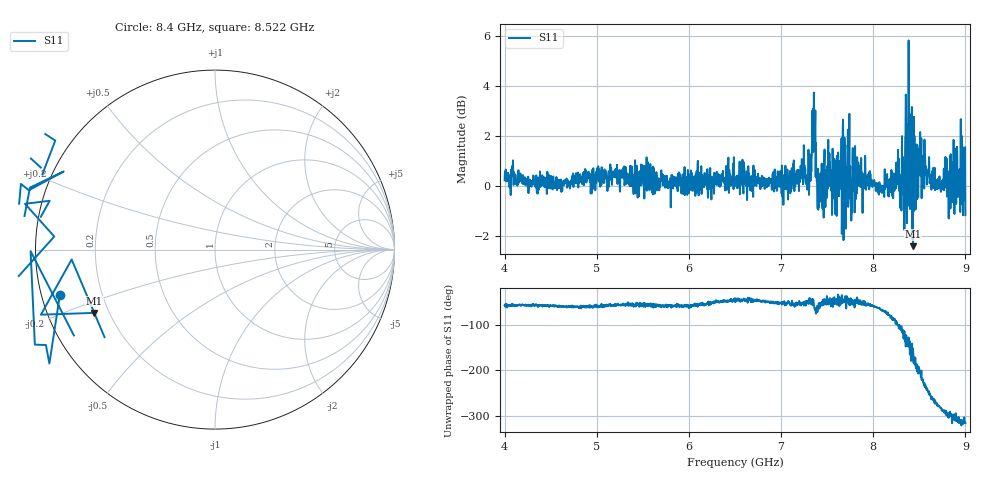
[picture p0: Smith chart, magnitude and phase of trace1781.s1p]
! Created with skrf 1.8.0 (http://scikit-rf.org).
# Hz S RI R 50.0
!freq ReS11 ImS11
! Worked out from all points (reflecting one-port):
!   1601 points, 4 GHz to 9 GHz, reference 50 ohm
!   lowest |S11| = -2.4 dB at 8.431 GHz (marker M1), VSWR 7.30, Z = 7.26 - j12.1 ohm
!   phase of S11 starts at -57 deg and turns -258 deg over the sweep
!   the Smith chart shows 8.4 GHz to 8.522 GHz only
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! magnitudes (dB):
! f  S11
! 4 GHz  0.2
! 4.625 GHz  -0.2
! 5.25 GHz  -0.2
! 5.875 GHz  0.1
! 6.5 GHz  0.2
! 7.125 GHz  0.5
! 7.297 GHz  1.5
! 7.356 GHz  3.7
! 7.409 GHz  -0.2
! 7.525 GHz  1.3
! 7.609 GHz  0.0
! 7.675 GHz  1.8
! 7.75 GHz  0.8
! 7.775 GHz  1.2
! 7.85 GHz  0.2
! 8.094 GHz  -0.3
! 8.259 GHz  0.4
! 8.316 GHz  -0.3
! 8.334 GHz  0.3
! 8.375 GHz  0.1
! 8.388 GHz  -0.8
! 8.394 GHz  -0.5
! 8.412 GHz  0.2
! 8.431 GHz  -2.4
! 8.519 GHz  1.2
! 8.812 GHz  -0.2
! 8.972 GHz  1.0
! 9 GHz  -1.2
